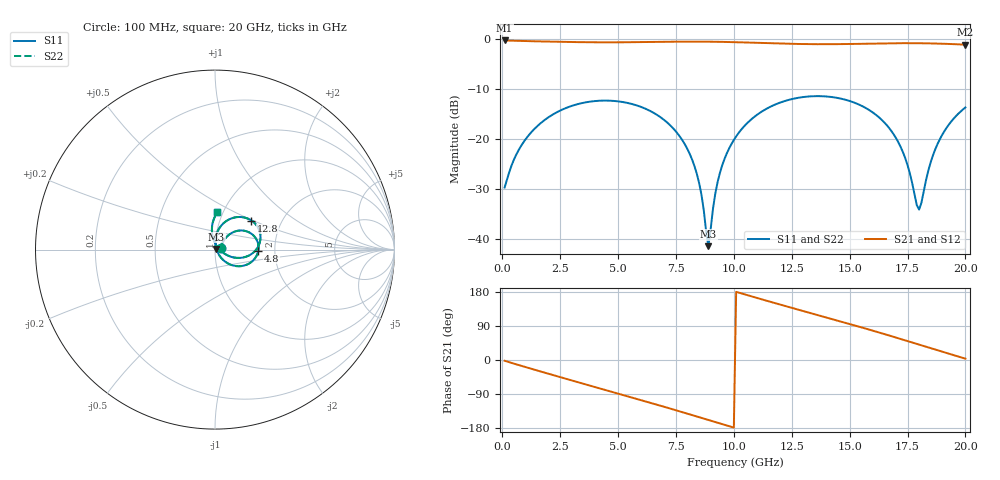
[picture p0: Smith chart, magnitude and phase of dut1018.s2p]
! Touchstone file exported from HFSS 2026.1.0
!  File:  C:/ffzhzh/LocalFiles/Ansys_Project_Files/temp_train_TSV_RDL_1018_1783292263_30076.aedt
!  Generated:  07:08:59 AM Jul  6, 2026
!  Design:  TSV_RDL
!  Project:  temp_train_TSV_RDL_1018_1783292263_30076
! Variables:
!  h_bsmrdl = 2.56um
!  h_ox = 20um
!  h_rdl = 5um
!  h_sub = 85.99um
!  h_tmrdl = 2.62um
!  h_tsv = 85.99um
!  h_via = 3um
!  l_bsmrdl = 814.71um
!  l_sub = 5496.52um
!  l_tmrdl = 628.83um
!  m_sub = 200um
!  pitch = 36.31um
!  r_tsv = 14.62um
!  s_tmrdl = 10um
!  w_bsmrdl = 26.53um
!  w_sub = 500um
!  w_tmrdl = 19.16um
!  x_tsv_center1 = 638.41um
!  x_tsv_center2 = 1479.65um
!  x_tsv_center3 = 2127.64um
!  x_tsv_center4 = 2968.88um
!  x_tsv_center5 = 3616.87um
!  x_tsv_center6 = 4458.11um
# GHz S MA R 50.000000
! Terminal data exported
! Port[1] = TM_RDL1_1_T1
! Port[2] = TM_RDL5_1_T1
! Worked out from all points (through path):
!   200 points, 100 MHz to 20 GHz, reference 50 ohm
!   highest |S21| = -0.27 dB at 100 MHz (marker M1); lowest = -1.1 dB at 20 GHz (marker M2)
!   group delay of S21, straight-line fit = 49.2 ps
!   lowest |S11| = -41.4 dB at 8.9 GHz (marker M3), VSWR 1.02, Z = 50.8 + j0.283 ohm
!   |S11| at or under -10 dB: start of sweep to end of sweep
!   |S22| runs from -41.7 to -11.4 dB; largest |S21 - S12| = 1.7e-14
!   S11 on the Smith chart (normalised r, x): 100 MHz: 1.06, +0.02; 4.8 GHz: 1.64, -0.02; 12.8 GHz: 1.41, +0.49; 20 GHz: 0.94, +0.41
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0.1  0.03293 18.6  0.9691 -2.0  0.9691 -2.0  0.03293 18.6
! Gamma 0 0 0 0
! Port Impedance 50 0 50 0
0.6  0.06994 45.8  0.9603 -11.4  0.9603 -11.4  0.06994 45.8
1.3  0.1207 46.1  0.9516 -24.0  0.9516 -24.0  0.1207 46.1
3.5  0.231 18.7  0.9312 -62.6  0.9312 -62.6  0.231 18.6
4.8  0.2414 -1.3  0.9283 -85.0  0.9283 -85.0  0.2414 -1.4
6.8  0.1679 -33.4  0.9387 -120.0  0.9387 -120.0  0.1679 -33.5
7.6  0.1116 -45.7  0.9431 -134.4  0.9431 -134.4  0.1116 -45.9
8.2  0.06241 -52.8  0.9443 -145.4  0.9443 -145.4  0.06239 -53.2
8.6  0.028 -50.0  0.9437 -152.7  0.9437 -152.7  0.02792 -50.7
8.9  0.008545 19.0  0.9425 -158.2  0.9425 -158.2  0.008191 18.9
9.3  0.03744 86.6  0.9397 -165.6  0.9397 -165.6  0.03735 87.1
10.1  0.1067 81.2  0.9308 179.8  0.9308 179.8  0.1066 81.3
11.2  0.1885 64.2  0.9143 160.2  0.9143 160.2  0.1885 64.3
12.8  0.2597 38.6  0.8937 132.6  0.8937 132.6  0.2597 38.6
13.4  0.2686 29.1  0.89 122.4  0.89 122.4  0.2687 29.1
15.3  0.2272 -0.7  0.8956 89.9  0.8956 89.9  0.2273 -0.7
16.7  0.1299 -20.8  0.9075 64.8  0.9075 64.8  0.13 -20.8
17.4  0.06487 -24.2  0.9104 51.9  0.9104 51.9  0.06499 -24.0
18  0.01983 40.6  0.9094 40.6  0.9094 40.6  0.02015 40.4
18.4  0.04869 96.1  0.9066 33.1  0.9066 33.1  0.04881 95.6
18.8  0.08993 100.2  0.902 25.6  0.902 25.6  0.08999 99.9
20  0.2076 86.5  0.8803 3.6  0.8803 3.6  0.2077 86.2
